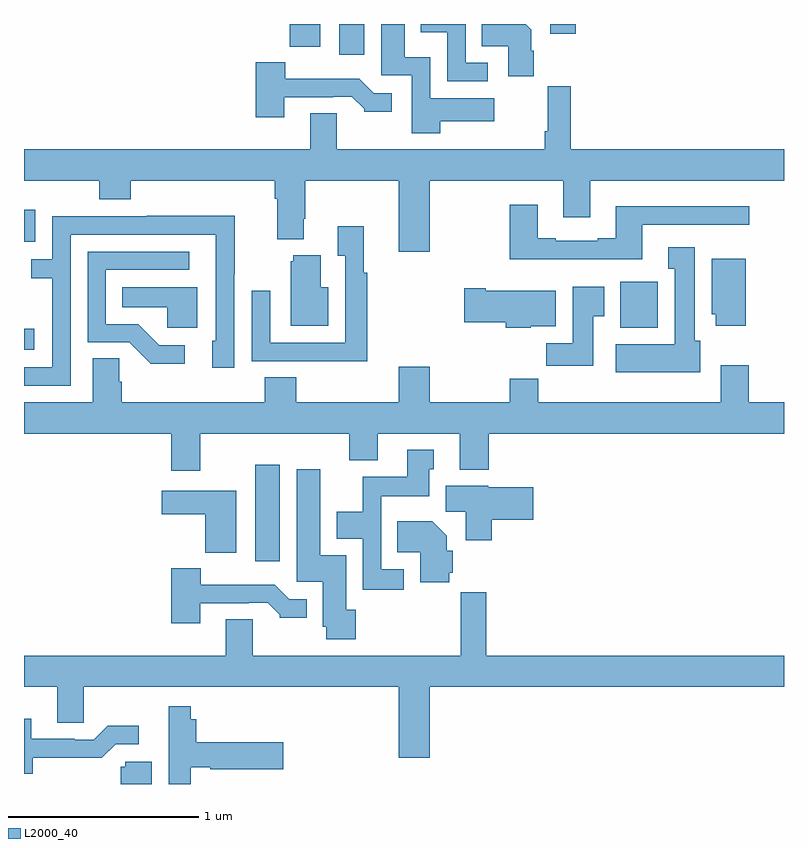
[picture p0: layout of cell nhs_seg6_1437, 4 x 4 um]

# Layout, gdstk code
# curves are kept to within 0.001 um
import gdstk
lib = gdstk.Library(unit=1e-6, precision=1e-09)
def R(c, l, rs):  # rectangles x0, y0, x1, y1
    for r in rs: c.add(gdstk.rectangle(r[:2], r[2:], *l))
def P(c, l, *ps):  # polygons
    for p in ps: c.add(gdstk.Polygon(p, *l))
L2000_40 = (2000, 40)

nhs_seg6_1437 = lib.new_cell('nhs_seg6_1437')
R(nhs_seg6_1437, L2000_40, [(200.216,938.673,200.347,939.181), (199,939.785,199.054,939.895), (202.139,939.902,202.336,940.144), (199,940.353,199.059,940.522), (200.66,941.337,200.791,941.5), (200.398,941.381,200.56,941.5), (201.77,941.448,201.905,941.5)])
P(nhs_seg6_1437, L2000_40, [(201.442,941.295),(201.324,941.295),(201.324,941.5),(201.089,941.5),(201.089,941.456),(201.228,941.456),(201.228,941.199),(201.442,941.199)],
  [(201.683,941.36),(201.67,941.36),(201.67,941.47),(201.64,941.5),(201.409,941.5),(201.409,941.384),(201.548,941.384),(201.548,941.226),(201.683,941.226)],
  [(201.191,940.988),(201.475,940.988),(201.475,941.11),(201.138,941.11),(201.138,941.326),(201.004,941.326),(201.004,941.5),(200.879,941.5),(200.879,941.229),(201.042,941.229),(201.042,940.926),(201.191,940.926)],
  [(200.371,941.115),(200.627,941.115),(200.627,941.118),(200.726,941.118),(200.79,941.054),(200.79,941.039),(200.935,941.039),(200.935,941.136),(200.841,941.136),(200.765,941.212),(200.374,941.212),(200.374,941.299),(200.219,941.299),(200.219,941.01),(200.371,941.01)],
  [(201.136,940.676),(201.839,940.676),(201.839,940.482),(201.979,940.482),(201.979,940.676),(203,940.676),(203,940.84),(201.878,940.84),(201.878,941.173),(201.757,941.173),(201.757,940.936),(201.742,940.936),(201.742,940.84),(200.647,940.84),(200.647,941.03),(200.507,941.03),(200.507,940.84),(199,940.84),(199,940.676),(199.397,940.676),(199.397,940.577),(199.562,940.577),(199.562,940.676),(200.321,940.676),(200.321,940.58),(200.333,940.58),(200.333,940.367),(200.473,940.367),(200.473,940.474),(200.481,940.474),(200.481,940.676),(200.972,940.676),(200.972,940.302),(201.136,940.302)],
  [(202.255,940.443),(202.816,940.443),(202.816,940.54),(202.115,940.54),(202.115,940.372),(202.019,940.372),(202.019,940.359),(201.799,940.359),(201.799,940.372),(201.703,940.372),(201.703,940.549),(201.556,940.549),(201.556,940.262),(202.255,940.262)],
  [(199.245,940.392),(200.009,940.392),(200.009,940.138),(200.01,940.138),(200.01,939.834),(199.991,939.834),(199.991,939.69),(200.106,939.69),(200.106,940.183),(200.109,940.183),(200.109,940.49),(199.645,940.49),(199.645,940.488),(199.149,940.488),(199.149,940.263),(199.039,940.263),(199.039,940.162),(199.149,940.162),(199.149,939.693),(199,939.693),(199,939.597),(199.245,939.597)],
  [(200.807,940.19),(200.789,940.19),(200.789,940.435),(200.651,940.435),(200.651,940.279),(200.691,940.279),(200.691,939.822),(200.295,939.822),(200.295,940.096),(200.199,940.096),(200.199,939.726),(200.515,939.726),(200.515,939.725),(200.807,939.725)],
  [(202.558,939.834),(202.531,939.834),(202.531,940.324),(202.391,940.324),(202.391,940.211),(202.424,940.211),(202.424,939.814),(202.115,939.814),(202.115,939.668),(202.558,939.668)],
  [(199.846,939.81),(199.711,939.81),(199.6,939.921),(199.431,939.921),(199.431,940.206),(199.87,940.206),(199.87,940.302),(199.335,940.302),(199.335,939.825),(199.554,939.825),(199.667,939.713),(199.846,939.713)],
  [(200.602,940.114),(200.563,940.114),(200.563,940.282),(200.417,940.282),(200.417,940.251),(200.405,940.251),(200.405,939.911),(200.602,939.911)],
  [(202.798,940.264),(202.619,940.264),(202.619,939.972),(202.64,939.972),(202.64,939.912),(202.798,939.912)],
  [(201.997,939.961),(202.054,939.961),(202.054,940.117),(201.887,940.117),(201.887,939.82),(201.748,939.82),(201.748,939.702),(201.997,939.702)],
  [(199.912,940.114),(199.516,940.114),(199.516,940.01),(199.755,940.01),(199.755,939.902),(199.912,939.902)],
  [(201.666,939.908),(201.799,939.908),(201.799,940.096),(201.43,940.096),(201.43,940.109),(201.318,940.109),(201.318,939.931),(201.536,939.931),(201.536,939.902),(201.666,939.902)],
  [(203,939.508),(202.815,939.508),(202.815,939.703),(202.667,939.703),(202.667,939.508),(201.707,939.508),(201.707,939.632),(201.556,939.632),(201.556,939.508),(201.136,939.508),(201.136,939.697),(200.972,939.697),(200.972,939.508),(200.432,939.508),(200.432,939.641),(200.267,939.641),(200.267,939.508),(199.514,939.508),(199.514,939.617),(199.5,939.617),(199.5,939.74),(199.361,939.74),(199.361,939.508),(199,939.508),(199,939.344),(199.775,939.344),(199.775,939.15),(199.927,939.15),(199.927,939.344),(200.711,939.344),(200.711,939.203),(200.863,939.203),(200.863,939.344),(201.293,939.344),(201.293,939.155),(201.446,939.155),(201.446,939.344),(203,939.344)],
  [(200.998,938.631),(200.88,938.631),(200.88,939.014),(201.133,939.014),(201.133,939.156),(201.157,939.156),(201.157,939.259),(201.017,939.259),(201.017,939.118),(200.782,939.118),(200.782,938.932),(200.645,938.932),(200.645,938.792),(200.784,938.792),(200.784,938.523),(200.998,938.523)],
  [(200.747,938.418),(200.695,938.418),(200.695,938.704),(200.56,938.704),(200.56,939.157),(200.435,939.157),(200.435,938.565),(200.573,938.565),(200.573,938.328),(200.59,938.328),(200.59,938.262),(200.747,938.262)],
  [(201.461,938.891),(201.679,938.891),(201.679,939.061),(201.444,939.061),(201.444,939.07),(201.221,939.07),(201.221,938.932),(201.326,938.932),(201.326,938.784),(201.461,938.784)],
  [(200.116,939.043),(199.725,939.043),(199.725,938.921),(199.954,938.921),(199.954,938.717),(200.116,938.717)],
  [(201.238,938.613),(201.257,938.613),(201.257,938.727),(201.226,938.727),(201.226,938.806),(201.148,938.884),(200.965,938.884),(200.965,938.72),(201.086,938.72),(201.086,938.563),(201.238,938.563)],
  [(199.927,938.451),(200.183,938.451),(200.183,938.454),(200.282,938.454),(200.346,938.39),(200.346,938.375),(200.488,938.375),(200.488,938.472),(200.397,938.472),(200.321,938.548),(199.93,938.548),(199.93,938.635),(199.775,938.635),(199.775,938.346),(199.927,938.346)],
  [(201.136,938.012),(203,938.012),(203,938.176),(201.434,938.176),(201.434,938.509),(201.298,938.509),(201.298,938.176),(200.203,938.176),(200.203,938.366),(200.063,938.366),(200.063,938.176),(199,938.176),(199,938.012),(199.175,938.012),(199.175,937.822),(199.314,937.822),(199.314,938.012),(200.972,938.012),(200.972,937.638),(201.136,937.638)],
  [(199.877,937.589),(199.98,937.589),(199.98,937.577),(200.365,937.577),(200.365,937.719),(199.907,937.719),(199.907,937.84),(199.877,937.84),(199.877,937.909),(199.761,937.909),(199.761,937.5),(199.877,937.5)],
  [(199.047,937.638),(199.409,937.637),(199.482,937.71),(199.603,937.71),(199.603,937.807),(199.441,937.807),(199.368,937.734),(199.268,937.734),(199.268,937.737),(199.039,937.737),(199.039,937.843),(199,937.843),(199,937.553),(199.047,937.553)],
  [(199.672,937.617),(199.533,937.617),(199.533,937.59),(199.508,937.59),(199.508,937.5),(199.672,937.5)])

lib.write_gds('nhs_seg6_1437.gds')
